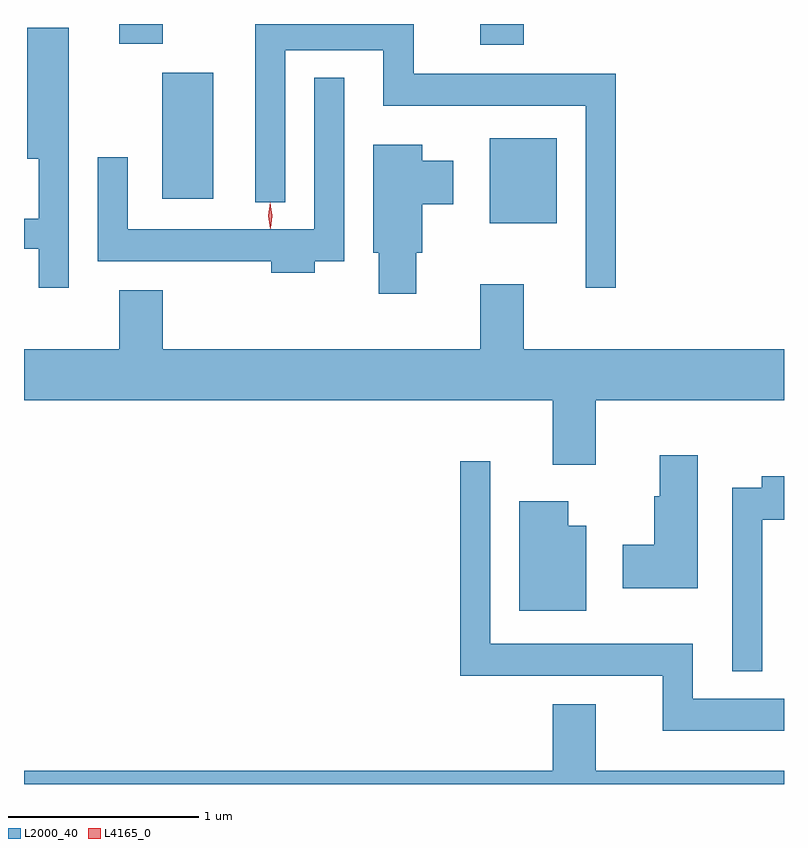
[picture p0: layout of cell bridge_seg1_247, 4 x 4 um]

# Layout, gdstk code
import gdstk
lib = gdstk.Library(unit=1e-6, precision=1e-09)
def R(c, l, rs):  # rectangles x0, y0, x1, y1
    for r in rs: c.add(gdstk.rectangle(r[:2], r[2:], *l))
def P(c, l, *ps):  # polygons
    for p in ps: c.add(gdstk.Polygon(p, *l))
L2000_40 = (2000, 40)
L4165_0 = (4165, 0)

bridge_seg1_247 = lib.new_cell('bridge_seg1_247')
R(bridge_seg1_247, L2000_40, [(962.911,896.066,963.264,896.514), (961.186,896.196,961.454,896.859), (962.861,897.006,963.089,897.115), (960.961,897.011,961.189,897.115)])
P(bridge_seg1_247, L2000_40, [(963.574,896.854),(962.509,896.854),(962.509,897.115),(961.676,897.115),(961.676,896.178),(961.834,896.178),(961.834,896.976),(962.351,896.976),(962.351,896.686),(963.416,896.686),(963.416,895.728),(963.574,895.728)],
  [(960.694,897.094),(960.476,897.094),(960.476,896.406),(960.536,896.406),(960.536,896.089),(960.459,896.089),(960.459,895.931),(960.536,895.931),(960.536,895.728),(960.694,895.728)],
  [(961.989,895.866),(962.144,895.866),(962.144,896.833),(961.986,896.833),(961.986,896.034),(961.004,896.034),(961.004,896.413),(960.846,896.413),(960.846,895.866),(961.761,895.866),(961.761,895.806),(961.989,895.806)],
  [(962.524,895.911),(962.554,895.911),(962.554,896.166),(962.719,896.166),(962.719,896.394),(962.554,896.394),(962.554,896.479),(962.296,896.479),(962.296,895.911),(962.326,895.911),(962.326,895.696),(962.524,895.696)],
  [(963.469,895.136),(964.459,895.136),(964.459,895.404),(963.089,895.404),(963.089,895.744),(962.861,895.744),(962.861,895.404),(961.189,895.404),(961.189,895.714),(960.961,895.714),(960.961,895.404),(960.459,895.404),(960.459,895.136),(963.241,895.136),(963.241,894.796),(963.469,894.796)],
  [(964.004,894.844),(963.806,894.844),(963.806,894.629),(963.776,894.629),(963.776,894.374),(963.611,894.374),(963.611,894.146),(964.004,894.146)],
  [(964.459,893.564),(963.979,893.564),(963.979,893.854),(962.914,893.854),(962.914,894.813),(962.756,894.813),(962.756,893.686),(963.821,893.686),(963.821,893.396),(964.459,893.396)],
  [(964.344,894.506),(964.459,894.506),(964.459,894.734),(964.341,894.734),(964.341,894.674),(964.186,894.674),(964.186,893.708),(964.344,893.708)],
  [(963.419,894.474),(963.324,894.474),(963.324,894.604),(963.066,894.604),(963.066,894.026),(963.419,894.026)],
  [(964.459,893.184),(963.469,893.184),(963.469,893.534),(963.241,893.534),(963.241,893.184),(960.459,893.184),(960.459,893.115),(964.459,893.115)])
P(bridge_seg1_247, L4165_0, [(961.754,896.037),(961.754,896.037),(961.744,896.106),(961.754,896.176),(961.754,896.176),(961.755,896.176),(961.764,896.106),(961.755,896.037)],
  [(961.756,896.039),(961.756,896.04),(961.746,896.106),(961.755,896.172),(961.756,896.173),(961.756,896.172),(961.766,896.106),(961.757,896.04)])

lib.write_gds('bridge_seg1_247.gds')
